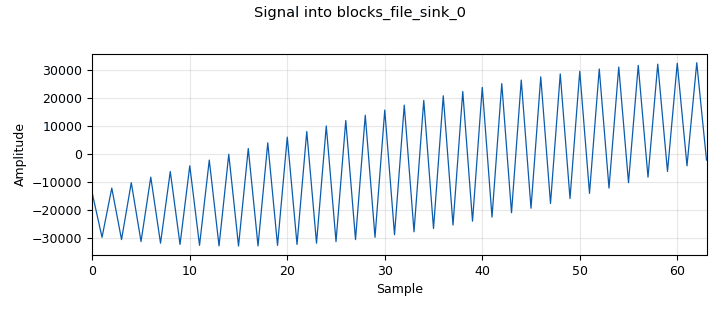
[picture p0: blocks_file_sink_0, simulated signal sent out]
options:
  parameters:
    generate_options: qt_gui
    id: Storing_Binary_Files
    output_language: python
    title: Storing_Binary_Files
  states: {}

blocks:
- name: filename
  id: variable
  parameters:
    value: '''./binary_file_'' + samp_rate_string +''Hz'' + timestamp + ''.complex_int'''
  states: {}
- name: samp_rate
  id: variable
  parameters:
    value: 100*10**3
  states: {}
- name: samp_rate_string
  id: variable
  parameters:
    value: str(int(samp_rate))
  states: {}
- name: timestamp
  id: variable
  parameters:
    value: str(int(time()))
  states: {}
- name: analog_sig_source_x_0
  id: analog_sig_source_x
  parameters:
    amp: '1'
    freq: '1000'
    offset: '0'
    phase: '0'
    samp_rate: samp_rate
    type: complex
    waveform: analog.GR_COS_WAVE
  states: {}
- name: blocks_complex_to_interleaved_short_0
  id: blocks_complex_to_interleaved_short
  parameters:
    scale_factor: 2**15
    vector_output: 'False'
  states: {}
- name: blocks_file_sink_0
  id: blocks_file_sink
  parameters:
    file: filename
    type: short
  states: {}
- name: import_0
  id: import
  parameters:
    imports: from time import time
  states: {}

connections:
- [analog_sig_source_x_0, '0', blocks_complex_to_interleaved_short_0, '0']
- [blocks_complex_to_interleaved_short_0, '0', blocks_file_sink_0, '0']

metadata:
  file_format: 1
  grc_version: 3.10.9.2
